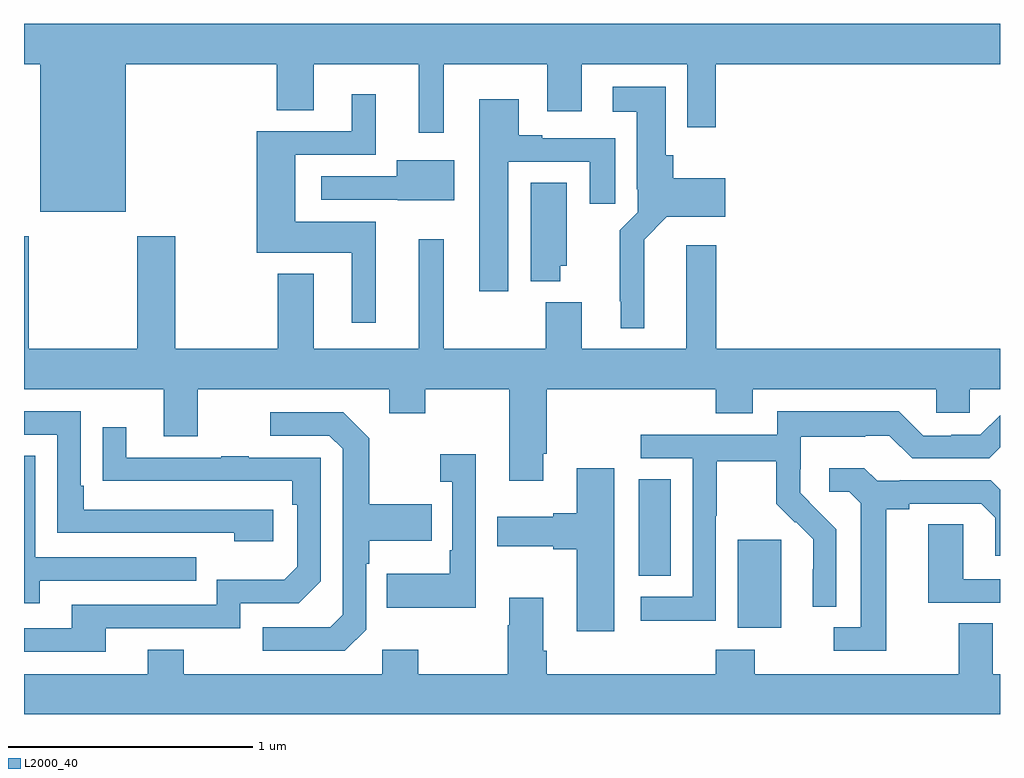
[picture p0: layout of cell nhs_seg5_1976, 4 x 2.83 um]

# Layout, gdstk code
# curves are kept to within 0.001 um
import gdstk
lib = gdstk.Library(unit=1e-6, precision=1e-09)
def R(c, l, rs):  # rectangles x0, y0, x1, y1
    for r in rs: c.add(gdstk.rectangle(r[:2], r[2:], *l))
def P(c, l, *ps):  # polygons
    for p in ps: c.add(gdstk.Polygon(p, *l))
L2000_40 = (2000, 40)

nhs_seg5_1976 = lib.new_cell('nhs_seg5_1976')
R(nhs_seg5_1976, L2000_40, [(229.925,883.754,230.104,884.115), (229.52,883.966,229.651,884.363)])
P(nhs_seg5_1976, L2000_40, [(227.416,886.064),(228.035,886.064),(228.035,885.874),(228.187,885.874),(228.187,886.064),(228.617,886.064),(228.617,885.783),(228.721,885.783),(228.721,886.064),(229.145,886.064),(229.145,885.87),(229.285,885.87),(229.285,886.064),(229.719,886.064),(229.719,885.804),(229.835,885.804),(229.835,886.064),(231,886.064),(231,886.228),(227,886.228),(227,886.064),(227.066,886.064),(227.066,885.458),(227.416,885.458)],
  [(229.543,885.344),(229.635,885.437),(229.873,885.437),(229.873,885.595),(229.661,885.595),(229.661,885.69),(229.63,885.69),(229.63,885.97),(229.413,885.97),(229.413,885.869),(229.511,885.869),(229.511,885.55),(229.515,885.55),(229.515,885.456),(229.441,885.382),(229.441,885.091),(229.445,885.091),(229.445,884.981),(229.543,884.981)],
  [(228.442,885.418),(228.112,885.418),(228.112,885.693),(228.442,885.693),(228.442,885.94),(228.344,885.94),(228.344,885.789),(227.954,885.789),(227.954,885.29),(228.344,885.29),(228.344,885.003),(228.442,885.003)],
  [(228.985,885.663),(229.319,885.663),(229.319,885.492),(229.423,885.492),(229.423,885.759),(229.123,885.759),(229.123,885.772),(229.027,885.772),(229.027,885.919),(228.866,885.919),(228.866,885.132),(228.985,885.132)],
  [(228.763,885.67),(228.527,885.67),(228.527,885.603),(228.219,885.603),(228.219,885.507),(228.531,885.507),(228.531,885.506),(228.763,885.506)],
  [(229.198,885.237),(229.225,885.237),(229.225,885.578),(229.076,885.578),(229.076,885.173),(229.198,885.173)],
  [(229.129,884.467),(229.142,884.467),(229.142,884.732),(229.835,884.732),(229.835,884.633),(229.987,884.633),(229.987,884.732),(230.739,884.732),(230.739,884.634),(230.877,884.634),(230.877,884.732),(231,884.732),(231,884.896),(229.838,884.896),(229.838,885.322),(229.715,885.322),(229.715,884.896),(229.285,884.896),(229.285,885.088),(229.138,885.088),(229.138,884.896),(228.721,884.896),(228.721,885.346),(228.617,885.346),(228.617,884.896),(228.187,884.896),(228.187,885.205),(228.04,885.205),(228.04,884.896),(227.619,884.896),(227.619,885.358),(227.464,885.358),(227.464,884.896),(227.019,884.896),(227.019,885.358),(227,885.358),(227,884.732),(227.573,884.732),(227.573,884.538),(227.713,884.538),(227.713,884.732),(228.497,884.732),(228.497,884.633),(228.645,884.633),(228.645,884.732),(228.989,884.732),(228.989,884.355),(229.129,884.355)],
  [(229.836,884.212),(229.839,884.212),(229.839,884.436),(230.083,884.436),(230.083,884.261),(230.16,884.184),(230.163,884.187),(230.234,884.117),(230.234,883.994),(230.232,883.994),(230.232,883.84),(230.328,883.84),(230.328,884.158),(230.182,884.306),(230.182,884.403),(230.184,884.403),(230.184,884.537),(230.447,884.537),(230.447,884.541),(230.547,884.541),(230.64,884.448),(230.955,884.448),(231,884.493),(231,884.625),(230.919,884.544),(230.801,884.544),(230.801,884.541),(230.685,884.541),(230.585,884.641),(230.088,884.641),(230.088,884.544),(229.527,884.544),(229.527,884.448),(229.74,884.448),(229.74,883.881),(229.527,883.881),(229.527,883.783),(229.836,883.783)],
  [(228.022,884.238),(227.245,884.238),(227.245,884.335),(227.232,884.335),(227.232,884.64),(227,884.64),(227,884.544),(227.136,884.544),(227.136,884.142),(227.861,884.142),(227.861,884.108),(228.022,884.108)],
  [(228.402,883.746),(228.402,884.015),(228.415,884.015),(228.415,884.111),(228.671,884.111),(228.671,884.259),(228.415,884.259),(228.415,884.531),(228.309,884.637),(228.009,884.637),(228.009,884.541),(228.252,884.541),(228.306,884.487),(228.306,883.806),(228.255,883.755),(227.979,883.755),(227.979,883.659),(228.315,883.659)],
  [(227.335,883.752),(227.886,883.752),(227.886,883.854),(228.126,883.854),(228.216,883.944),(228.216,884.451),(227.921,884.451),(227.921,884.456),(227.809,884.456),(227.809,884.451),(227.419,884.451),(227.419,884.575),(227.323,884.575),(227.323,884.356),(228.1,884.355),(228.1,884.258),(228.12,884.258),(228.12,884.004),(228.067,883.951),(227.79,883.951),(227.79,883.848),(227.195,883.848),(227.195,883.752),(227,883.752),(227,883.656),(227.335,883.656)],
  [(228.852,884.464),(228.705,884.464),(228.705,884.351),(228.756,884.351),(228.756,884.071),(228.744,884.071),(228.744,883.975),(228.487,883.975),(228.487,883.835),(228.852,883.835)],
  [(227.065,883.947),(227.705,883.947),(227.705,884.043),(227.046,884.043),(227.046,884.459),(227,884.459),(227,883.853),(227.065,883.853)],
  [(229.42,884.407),(229.265,884.407),(229.265,884.222),(229.169,884.222),(229.169,884.209),(228.939,884.209),(228.939,884.087),(229.169,884.087),(229.169,884.075),(229.265,884.075),(229.265,883.74),(229.42,883.74)],
  [(230.533,884.24),(230.629,884.24),(230.629,884.262),(230.924,884.262),(230.981,884.205),(230.981,884.049),(231,884.049),(231,884.32),(230.962,884.358),(230.59,884.358),(230.59,884.355),(230.496,884.355),(230.444,884.407),(230.301,884.407),(230.301,884.31),(230.382,884.31),(230.429,884.263),(230.429,883.755),(230.319,883.755),(230.319,883.659),(230.533,883.659)],
  [(231,883.953),(230.85,883.953),(230.85,884.177),(230.705,884.177),(230.705,883.857),(231,883.857)],
  [(231,883.564),(230.971,883.564),(230.971,883.772),(230.831,883.772),(230.831,883.564),(229.995,883.564),(229.995,883.663),(229.835,883.663),(229.835,883.564),(229.142,883.564),(229.142,883.66),(229.129,883.66),(229.129,883.876),(228.989,883.876),(228.989,883.763),(228.982,883.763),(228.982,883.564),(228.615,883.564),(228.615,883.663),(228.468,883.663),(228.468,883.564),(227.655,883.564),(227.655,883.663),(227.507,883.663),(227.507,883.564),(227,883.564),(227,883.4),(231,883.4)])

lib.write_gds('nhs_seg5_1976.gds')
